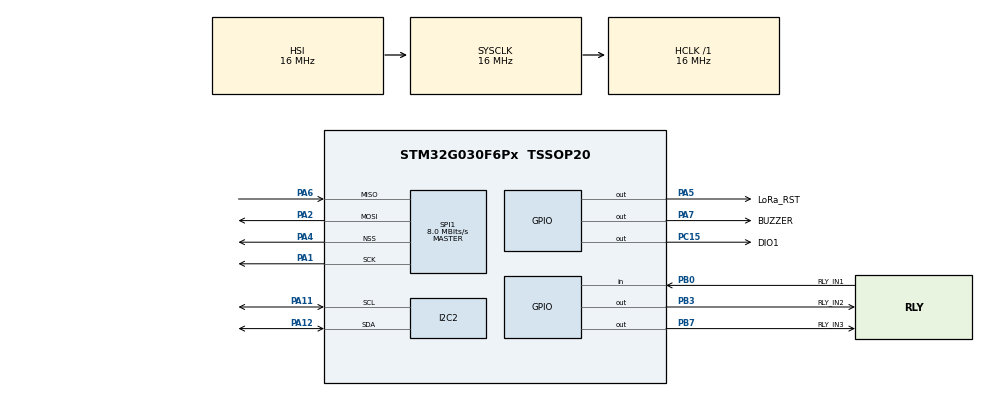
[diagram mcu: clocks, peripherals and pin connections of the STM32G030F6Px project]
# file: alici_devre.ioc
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Mcu.Family=STM32G0
Mcu.Name=STM32G030F6Px
Mcu.Package=TSSOP20
PA1.Mode=Full_Duplex_Master
PA1.Signal=SPI1_SCK
PA11\ [PA9].Mode=I2C
PA11\ [PA9].Signal=I2C2_SCL
PA12\ [PA10].Mode=I2C
PA12\ [PA10].Signal=I2C2_SDA
PA13.Mode=Serial_Wire
PA13.Signal=SYS_SWDIO
PA14-BOOT0.Mode=Serial_Wire
PA14-BOOT0.Signal=SYS_SWCLK
PA14-BOOT0__PA15.StandardMode=true
PA2.Mode=Full_Duplex_Master
PA2.Signal=SPI1_MOSI
PA4.Mode=NSS_Signal_Hard_Output
PA4.Signal=SPI1_NSS
PA5.GPIO_Label=LoRa_RST
PA5.Signal=GPIO_Output
PA6.Mode=Full_Duplex_Master
PA6.Signal=SPI1_MISO
PA7.GPIO_Label=BUZZER
PA7.Signal=GPIO_Output
PB0.GPIO_Label=RLY_IN1
PB0.Signal=GPIO_Input
PB0__PB1__PB2__PA8.StandardMode=true
PB3.GPIO_Label=RLY_IN2
PB3.Signal=GPIO_Output
PB3__PB4__PB5__PB6.StandardMode=true
PB7.GPIO_Label=RLY_IN3
PB7.Signal=GPIO_Output
PB7__PB8.StandardMode=true
PC14-OSC32_IN\ (PC14)__PB9.StandardMode=true
PC15-OSC32_OUT\ (PC15).GPIO_Label=DIO1
PC15-OSC32_OUT\ (PC15).Signal=GPIO_Output
ProjectManager.HeapSize=0x200
ProjectManager.StackSize=0x400
ProjectManager.TargetToolchain=STM32CubeIDE
RCC.AHBFreq_Value=16000000
RCC.CortexFreq_Value=16000000
RCC.EXTERNAL_CLOCK_VALUE=12288000
RCC.HCLKFreq_Value=16000000
RCC.HSE_VALUE=8000000
RCC.HSI_VALUE=16000000
RCC.LSE_VALUE=32768
RCC.SYSCLKFreq_VALUE=16000000
RCC.VCOOutputFreq_Value=128000000
SPI1.BaudRatePrescaler=SPI_BAUDRATEPRESCALER_2
SPI1.CalculateBaudRate=8.0 MBits/s
SPI1.DataSize=SPI_DATASIZE_8BIT
SPI1.Direction=SPI_DIRECTION_2LINES
SPI1.Mode=SPI_MODE_MASTER
SPI1.VirtualNSS=VM_NSSHARD
SPI1.VirtualType=VM_MASTER
board=custom

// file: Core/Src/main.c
/* USER CODE BEGIN Header */
/**
  ******************************************************************************
  * @file           : main.c
  * @brief          : Main program body
  ******************************************************************************
  * @attention
  *
  * Copyright (c) 2022 STMicroelectronics.
  * All rights reserved.
  *
  * This software is licensed under terms that can be found in the LICENSE file
  * in the root directory of this software component.
  * If no LICENSE file comes with this software, it is provided AS-IS.
  *
  ******************************************************************************
  */
/* USER CODE END Header */
#include "main.h"

/* USER CODE BEGIN Includes */
#include "LoRa.h"
/* USER CODE END Includes */

/* USER CODE BEGIN PD */
LoRa receiver;
int8_t r_buffer[3];
/* USER CODE END PD */

 I2C_HandleTypeDef hi2c2;

SPI_HandleTypeDef hspi1;

void SystemClock_Config(void);
static void MX_GPIO_Init(void);
static void MX_I2C2_Init(void);
static void MX_SPI1_Init(void);

int main(void)
{

  /* MCU Configuration--------------------------------------------------------*/

  /* Reset of all peripherals, Initializes the Flash interface and the Systick. */
  HAL_Init();

  /* Configure the system clock */
  SystemClock_Config();

  /* Initialize all configured peripherals */
  MX_GPIO_Init();
  MX_I2C2_Init();
  MX_SPI1_Init();
  /* USER CODE BEGIN 2 */

  receiver = newLoRa();

  receiver.hSPIx = &hspi1;
  receiver.CS_port = GPIOA;
  receiver.CS_pin = 4;
  receiver.reset_port = GPIOA;
  receiver.reset_pin = 5;
  receiver.DIO0_port = DIO1_GPIO_Port;
  receiver.DIO0_port = 15;

  receiver.frequency = 434.0;
  receiver.spredingFactor = SF_7;
  receiver.bandWidth = BW_125KHz;
  receiver.power = POWER_11db;
  receiver.crcRate = CR_4_5;
  receiver.overCurrentProtection = 100;
  receiver.preamble = 8;

  LoRa_reset(&receiver);
  LoRa_init(&receiver);

  LoRa_startReceiving(&receiver);
  /* USER CODE END 2 */

  /* Infinite loop */
  /* USER CODE BEGIN WHILE */
  while (1)
  {
    LoRa_receive(&receiver, r_buffer, sizeof(r_buffer));
    HAL_GPIO_WritePin(RLY_IN1_GPIO_Port, RLY_IN1_Pin, r_buffer[1]);
    HAL_GPIO_WritePin(RLY_IN2_GPIO_Port, RLY_IN2_Pin, r_buffer[0]);
    HAL_GPIO_WritePin(RLY_IN3_GPIO_Port, RLY_IN3_Pin, r_buffer[2]);
    HAL_Delay(500);
    /* USER CODE END WHILE */

  }
}

void SystemClock_Config(void)
{
  RCC_OscInitTypeDef RCC_OscInitStruct = {0};
  RCC_ClkInitTypeDef RCC_ClkInitStruct = {0};

  /** Configure the main internal regulator output voltage
  */
  HAL_PWREx_ControlVoltageScaling(PWR_REGULATOR_VOLTAGE_SCALE1);

  /** Initializes the RCC Oscillators according to the specified parameters
  * in the RCC_OscInitTypeDef structure.
  */
  RCC_OscInitStruct.OscillatorType = RCC_OSCILLATORTYPE_HSI;
  RCC_OscInitStruct.HSIState = RCC_HSI_ON;
  RCC_OscInitStruct.HSIDiv = RCC_HSI_DIV1;
  RCC_OscInitStruct.HSICalibrationValue = RCC_HSICALIBRATION_DEFAULT;
  RCC_OscInitStruct.PLL.PLLState = RCC_PLL_NONE;
  if (HAL_RCC_OscConfig(&RCC_OscInitStruct) != HAL_OK)
  {
    Error_Handler();
  }

  /** Initializes the CPU, AHB and APB buses clocks
  */
  RCC_ClkInitStruct.ClockType = RCC_CLOCKTYPE_HCLK|RCC_CLOCKTYPE_SYSCLK
                              |RCC_CLOCKTYPE_PCLK1;
  RCC_ClkInitStruct.SYSCLKSource = RCC_SYSCLKSOURCE_HSI;
  RCC_ClkInitStruct.AHBCLKDivider = RCC_SYSCLK_DIV1;
  RCC_ClkInitStruct.APB1CLKDivider = RCC_HCLK_DIV1;

  if (HAL_RCC_ClockConfig(&RCC_ClkInitStruct, FLASH_LATENCY_0) != HAL_OK)
  {
    Error_Handler();
  }
}

static void MX_I2C2_Init(void)
{

  hi2c2.Instance = I2C2;
  hi2c2.Init.Timing = 0x00303D5B;
  hi2c2.Init.OwnAddress1 = 0;
  hi2c2.Init.AddressingMode = I2C_ADDRESSINGMODE_7BIT;
  hi2c2.Init.DualAddressMode = I2C_DUALADDRESS_DISABLE;
  hi2c2.Init.OwnAddress2 = 0;
  hi2c2.Init.OwnAddress2Masks = I2C_OA2_NOMASK;
  hi2c2.Init.GeneralCallMode = I2C_GENERALCALL_DISABLE;
  hi2c2.Init.NoStretchMode = I2C_NOSTRETCH_DISABLE;
  if (HAL_I2C_Init(&hi2c2) != HAL_OK)
  {
    Error_Handler();
  }

  /** Configure Analogue filter
  */
  if (HAL_I2CEx_ConfigAnalogFilter(&hi2c2, I2C_ANALOGFILTER_ENABLE) != HAL_OK)
  {
    Error_Handler();
  }

  /** Configure Digital filter
  */
  if (HAL_I2CEx_ConfigDigitalFilter(&hi2c2, 0) != HAL_OK)
  {
    Error_Handler();
  }

}

static void MX_SPI1_Init(void)
{

  /* SPI1 parameter configuration*/
  hspi1.Instance = SPI1;
  hspi1.Init.Mode = SPI_MODE_MASTER;
  hspi1.Init.Direction = SPI_DIRECTION_2LINES;
  hspi1.Init.DataSize = SPI_DATASIZE_8BIT;
  hspi1.Init.CLKPolarity = SPI_POLARITY_LOW;
  hspi1.Init.CLKPhase = SPI_PHASE_1EDGE;
  hspi1.Init.NSS = SPI_NSS_HARD_OUTPUT;
  hspi1.Init.BaudRatePrescaler = SPI_BAUDRATEPRESCALER_2;
  hspi1.Init.FirstBit = SPI_FIRSTBIT_MSB;
  hspi1.Init.TIMode = SPI_TIMODE_DISABLE;
  hspi1.Init.CRCCalculation = SPI_CRCCALCULATION_DISABLE;
  hspi1.Init.CRCPolynomial = 7;
  hspi1.Init.CRCLength = SPI_CRC_LENGTH_DATASIZE;
  hspi1.Init.NSSPMode = SPI_NSS_PULSE_ENABLE;
  if (HAL_SPI_Init(&hspi1) != HAL_OK)
  {
    Error_Handler();
  }

}

static void MX_GPIO_Init(void)
{
  GPIO_InitTypeDef GPIO_InitStruct = {0};

  /* GPIO Ports Clock Enable */
  __HAL_RCC_GPIOB_CLK_ENABLE();
  __HAL_RCC_GPIOC_CLK_ENABLE();
  __HAL_RCC_GPIOA_CLK_ENABLE();

  /*Configure GPIO pin Output Level */
  HAL_GPIO_WritePin(GPIOB, RLY_IN3_Pin|RLY_IN2_Pin, GPIO_PIN_RESET);

  /*Configure GPIO pin Output Level */
  HAL_GPIO_WritePin(DIO1_GPIO_Port, DIO1_Pin, GPIO_PIN_RESET);

  /*Configure GPIO pin Output Level */
  HAL_GPIO_WritePin(GPIOA, LoRa_RST_Pin|BUZZER_Pin, GPIO_PIN_RESET);

  /*Configure GPIO pins : RLY_IN3_Pin RLY_IN2_Pin */
  GPIO_InitStruct.Pin = RLY_IN3_Pin|RLY_IN2_Pin;
  GPIO_InitStruct.Mode = GPIO_MODE_OUTPUT_PP;
  GPIO_InitStruct.Pull = GPIO_NOPULL;
  GPIO_InitStruct.Speed = GPIO_SPEED_FREQ_LOW;
  HAL_GPIO_Init(GPIOB, &GPIO_InitStruct);

  /*Configure GPIO pin : DIO1_Pin */
  GPIO_InitStruct.Pin = DIO1_Pin;
  GPIO_InitStruct.Mode = GPIO_MODE_OUTPUT_PP;
  GPIO_InitStruct.Pull = GPIO_NOPULL;
  GPIO_InitStruct.Speed = GPIO_SPEED_FREQ_LOW;
  HAL_GPIO_Init(DIO1_GPIO_Port, &GPIO_InitStruct);

  /*Configure GPIO pins : LoRa_RST_Pin BUZZER_Pin */
  GPIO_InitStruct.Pin = LoRa_RST_Pin|BUZZER_Pin;
  GPIO_InitStruct.Mode = GPIO_MODE_OUTPUT_PP;
  GPIO_InitStruct.Pull = GPIO_NOPULL;
  GPIO_InitStruct.Speed = GPIO_SPEED_FREQ_LOW;
  HAL_GPIO_Init(GPIOA, &GPIO_InitStruct);

  /*Configure GPIO pin : RLY_IN1_Pin */
  GPIO_InitStruct.Pin = RLY_IN1_Pin;
  GPIO_InitStruct.Mode = GPIO_MODE_INPUT;
  GPIO_InitStruct.Pull = GPIO_NOPULL;
  HAL_GPIO_Init(RLY_IN1_GPIO_Port, &GPIO_InitStruct);

}

void Error_Handler(void)
{
  __disable_irq();
  while (1)
  {
  }
}
